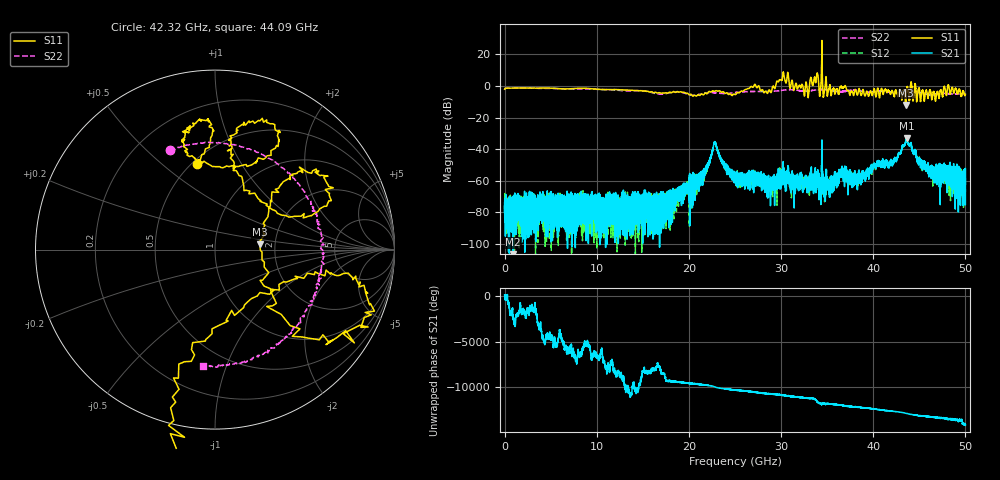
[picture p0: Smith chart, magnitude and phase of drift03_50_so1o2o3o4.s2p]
!Created with skrf (http://scikit-rf.org).
# Hz S RI R 50.0
!freq ReS11 ImS11 ReS21 ImS21 ReS12 ImS12 ReS22 ImS22
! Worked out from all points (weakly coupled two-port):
!   10000 points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, 5.3 MHz to 50 GHz, reference 50 ohm
!   highest |S21| = -33.00 dB at 43.64 GHz (marker M1); lowest = -109.8 dB at 940.3 MHz (marker M2)
!   lowest |S11| = -12.0 dB at 43.52 GHz (marker M3), VSWR 1.67, Z = 82.9 + j5.21 ohm
!   |S11| at or under -10 dB: 43.48375 GHz to 43.54372 GHz (59.97 MHz wide, 0.138 % of centre); 43.54942 GHz to 43.55674 GHz (7.315 MHz wide, 0.0168 % of centre); 44.70925 GHz to 44.71048 GHz (1.234 MHz wide, 0.00276 % of centre)
!   |S22| runs from -5.9 to -1.3 dB; largest |S21 - S12| = 0.0084
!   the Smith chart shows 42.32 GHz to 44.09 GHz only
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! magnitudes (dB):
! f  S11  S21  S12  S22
! 5.3 MHz  -2.1  -75.9  -78.3  -2.1
! 940.3 MHz  -1.4  -109.8  -77.8  -1.5
! 8.34 GHz  -1.5  -73.4  -74.6  -1.9
! 16.67 GHz  -4.4  -73.2  -75.9  -5.2
! 21.29 GHz  -5.5  -58.6  -56.9  -5.2
! 22.81 GHz  -3.5  -35.3  -35.1  -4.4
! 25.01 GHz  -5.5  -56.6  -54.9  -4.3
! 27.02 GHz  -0.3  -58.3  -56.3  -3.5
! 28.72 GHz  -2.5  -60.0  -61.0  -3.5
! 30.14 GHz  4.4  -54.7  -53.9  -2.8
! 32.74 GHz  2.0  -56.6  -60.4  -3.3
! 33.34 GHz  2.6  -56.0  -56.6  -2.9
! 33.82 GHz  4.0  -60.9  -57.8  -2.5
! 34.94 GHz  -0.5  -60.3  -58.6  -2.3
! 36.5 GHz  -0.4  -53.1  -54.2  -3.8
! 38.48 GHz  -1.6  -56.4  -56.8  -3.1
! 40.32 GHz  -6.7  -51.0  -49.8  -3.6
! 41.67 GHz  -3.0  -50.6  -50.8  -3.7
! 43.52 GHz  -12.0  -35.4  -35.6  -4.3
! 43.64 GHz  -1.8  -33.0  -33.4  -4.0
! 45.89 GHz  -5.7  -51.9  -51.6  -5.4
! 50 GHz  -5.2  -62.1  -64.4  -5.0
